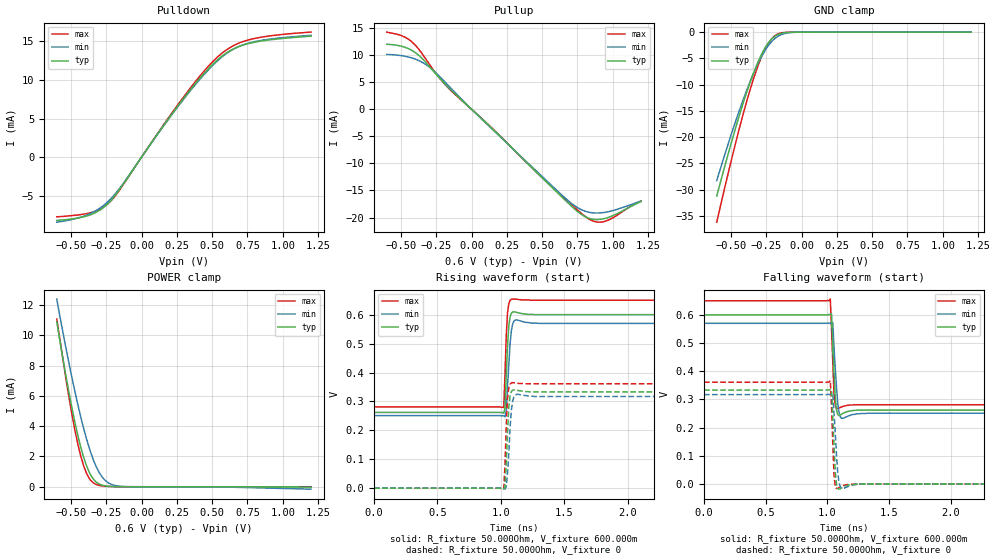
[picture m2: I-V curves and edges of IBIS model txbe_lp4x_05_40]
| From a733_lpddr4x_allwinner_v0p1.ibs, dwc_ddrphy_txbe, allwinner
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[Model] txbe_lp4x_05_40
Model_type   I/O
Polarity   Non-Inverting
Enable   Active-High
C_comp   1.523pF   1.517pF   1.527pF
C_comp_pullup   281.396fF   276.622fF   283.141fF
C_comp_pulldown 1.179pF   1.179pF   1.183pF
Vinh = 360.000mV
Vinl = 307.000mV
Vmeas = 300.000mV
Vref = 300.000mV
Rref = 50Ohms
Cref = 0pF
[Model Spec]
Vinh   360.000mV   345.000mV   450.000mV
Vinl   307.000mV   293.000mV   330.000mV
Vmeas   300.000mV   285.000mV   325.000mV
Vref   300.000mV   285.000mV   325.000mV
D_overshoot_ampl_h 0.1 NA   NA
D_overshoot_ampl_l 0.1 NA   NA
D_overshoot_area_l 300.000m NA   NA
D_overshoot_area_h 300.000m NA   NA
[Receiver Thresholds]
Vth = 163.000mV
Vth_min = 143.000mV
Vth_max = 150.000mV
Vinh_ac = 60.000mV
Vinh_dc = 60.000mV
Vinl_ac = -60.000mV
Vinl_dc = -60.000mV
Tslew_ac = 5.000ns
Threshold_sensitivity = 0.5
Reference_supply Pullup_ref
[Temperature Range]   25.000   125.000   -40.000
[Voltage Range]   600.000mV   570.000mV   650.000mV
[GND Clamp Reference]   0.00V   0.00V   0.00V
[C Comp Corner]
| variable   typ   min   max
C_comp 1.523pF   1.527pF   1.517pF
C_comp_pullup 281.396fF   283.141fF   276.622fF
C_comp_pulldown 1.179pF   1.183pF   1.179pF
[Pulldown Reference]   0.00V   0.00V   0.00V
[POWER Clamp Reference]   600.000mV   570.000mV   650.000mV
[Pullup Reference]   600.000mV   570.000mV   650.000mV
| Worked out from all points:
|   slope of the pulldown table from 0 to 0.09 V, typ, clamps not added: 37.7 ohm
|   slope of the pullup table from 0 to 0.09 V, typ, clamps not added: 41.4 ohm
|   GND clamp passes 1 mA (typ) near -0.20 V on its own axis
|   POWER clamp passes 1 mA (typ) near -0.37 V on its own axis
|   rising waveform, R_fixture 50.000Ohm, V_fixture 600.000m: 20-80 % time 21.2ps typ, 25.9ps min, 19.5ps max; typ from 0.262 V to 0.6 V
|   rising waveform, R_fixture 50.000Ohm, V_fixture 0: 20-80 % time 21ps typ, 25.8ps min, 18.5ps max; typ from 0 V to 0.333 V
|   falling waveform, R_fixture 50.000Ohm, V_fixture 600.000m: 20-80 % time 21.7ps typ, 27.6ps min, 19.4ps max; typ from 0.6 V to 0.262 V
|   falling waveform, R_fixture 50.000Ohm, V_fixture 0: 20-80 % time 21ps typ, 27.1ps min, 18.1ps max; typ from 0.333 V to 0 V
[GND Clamp]
-600mV    -31.22mA   -28.27mA   -36.19mA
-520mV    -23.28mA   -21.37mA   -26.99mA
-450mV    -16.74mA   -15.69mA   -19.38mA
-390mV    -11.62mA   -11.22mA   -13.38mA
-350mV    -8.525mA   -8.504mA   -9.76mA
-300mV    -5.19mA    -5.531mA   -5.831mA
-260mV    -3.064mA   -3.57mA    -3.325mA
-230mV    -1.852mA   -2.39mA    -1.909mA
-190mV    -786.8uA   -1.239mA   -707.9uA
-130mV    -143.8uA   -342.1uA   -87.78uA
-40mV     -4.532uA   -19.09uA   -1.525uA
1.2V      1.311uA    15.49uA    381.8nA
[Power Clamp]
-600mV    10.91mA    12.39mA    11.07mA
-540mV    7.576mA    9.402mA    7.435mA
-490mV    5.088mA    7.093mA    4.645mA
-450mV    3.363mA    5.394mA    2.787mA
-410mV    1.961mA    3.868mA    1.391mA
-370mV    961.9uA    2.559mA    550.9uA
-340mV    496.2uA    1.753mA    248.6uA
-300mV    180.3uA    945.4uA    90.25uA
-250mV    46.9uA     359uA      29.19uA
-190mV    8.475uA    89.17uA    6.144uA
-120mV    854.5nA    14.07uA    451.4nA
1.2V      -21.99uA   -159.5uA   -4.464uA
[Pulldown]
-600mV    -8.18mA    -8.41mA    -7.71mA
-370mV    -7.51mA    -7.355mA   -7.22mA
-280mV    -6.66mA    -6.403mA   -6.6mA
-230mV    -5.867mA   -5.618mA   -5.904mA
-150mV    -4.037mA   -3.907mA   -4.113mA
110mV     2.911mA    2.866mA    2.968mA
310mV     7.897mA    7.779mA    8.086mA
460mV     11.19mA    11.03mA    11.5mA
570mV     13.09mA    12.97mA    13.46mA
660mV     14.09mA    14.08mA    14.52mA
790mV     14.84mA    14.91mA    15.32mA
1.2V      15.65mA    15.77mA    16.19mA
[Pullup]
-600mV    11.98mA    10.11mA    14.24mA
-500mV    11.65mA    9.907mA    13.62mA
-430mV    10.97mA    9.531mA    12.61mA
-370mV    9.877mA    8.939mA    10.97mA
-300mV    7.951mA    7.81mA     8.372mA
-150mV    3.672mA    3.979mA    3.572mA
640mV     -16.22mA   -15.87mA   -15.99mA
730mV     -18.43mA   -17.83mA   -18.13mA
830mV     -20.13mA   -19.03mA   -20.26mA
880mV     -20.38mA   -19.17mA   -20.8mA
950mV     -20.13mA   -19.02mA   -20.66mA
1.2V      -17.06mA   -16.96mA   -16.93mA
[Ramp]
R_load=50.000Ohm
dV/dt_r   201.290mV/21.000ps  190.718mV/26.500ps  218.998mV/18.500ps
dV/dt_f   201.289mV/21.500ps  190.718mV/27.000ps  218.998mV/17.500ps
[Rising waveform]
R_fixture=50.000Ohm
V_fixture=600.000m
V_fixture_min=570.000m
V_fixture_max=650.000m
0s        262mV      251mV      281mV
1.023ns   259mV      250mV      279mV
1.033ns   276mV      247mV      396mV
1.043ns   394mV      266mV      530mV
1.053ns   494mV      354mV      607mV
1.063ns   561mV      430mV      638mV
1.073ns   592mV      500mV      650mV
1.093ns   609mV      567mV      654mV
1.123ns   608mV      582mV      653mV
10ns      600mV      570mV      650mV
[Rising waveform]
R_fixture=50.000Ohm
V_fixture=0
0s        34.37uV    273.9uV    6.649uV
1.023ns   -3.37mV    -901.5uV   -2.756mV
1.033ns   6.068mV    -3.101mV   80.38mV
1.043ns   89.56mV    5.322mV    218mV
1.053ns   196mV      52.3mV     312mV
1.063ns   281mV      121mV      347mV
1.073ns   319mV      210mV      359mV
1.093ns   339mV      300mV      365mV
1.133ns   338mV      325mV      363mV
10ns      333mV      317mV      361mV
[Falling waveform]
R_fixture=50.000Ohm
V_fixture=600.000m
V_fixture_min=570.000m
V_fixture_max=650.000m
0s        600mV      570mV      650mV
1.023ns   602mV      570mV      656mV
1.033ns   603mV      573mV      548mV
1.043ns   480mV      572mV      430mV
1.053ns   396mV      485mV      319mV
1.063ns   307mV      411mV      278mV
1.073ns   262mV      344mV      268mV
1.093ns   243mV      255mV      269mV
1.113ns   247mV      233mV      273mV
10ns      262mV      251mV      281mV
[Falling waveform]
R_fixture=50.000Ohm
V_fixture=0
0s        333mV      317mV      361mV
1.023ns   335mV      317mV      367mV
1.033ns   336mV      320mV      273mV
1.043ns   233mV      319mV      144mV
1.053ns   139mV      249mV      31.62mV
1.063ns   45.29mV    187mV      -7.807mV
1.073ns   -119.4uV   104mV      -16.25mV
1.093ns   -18.55mV   6.85mV     -13.29mV
1.123ns   -12.04mV   -16.64mV   -6.506mV
10ns      37.46uV    274.9uV    8.251uV
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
